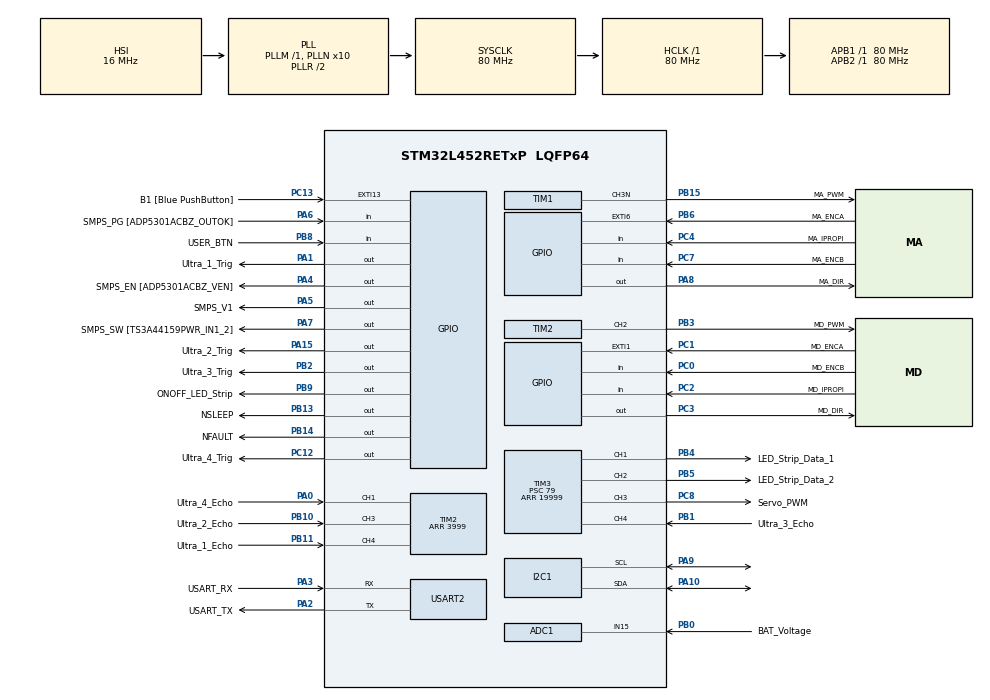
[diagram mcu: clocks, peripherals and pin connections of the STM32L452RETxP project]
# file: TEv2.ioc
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ADC1.Channel-0\#ChannelRegularConversion=ADC_CHANNEL_15
ADC1.NbrOfConversionFlag=1
ADC1.OffsetNumber-0\#ChannelRegularConversion=ADC_OFFSET_NONE
ADC1.Rank-0\#ChannelRegularConversion=1
ADC1.SamplingTime-0\#ChannelRegularConversion=ADC_SAMPLETIME_2CYCLES_5
ADC1.master=1
Dma.I2C1_RX.2.Direction=DMA_PERIPH_TO_MEMORY
Dma.I2C1_RX.2.Instance=DMA2_Channel6
Dma.I2C1_RX.2.MemDataAlignment=DMA_MDATAALIGN_BYTE
Dma.I2C1_RX.2.MemInc=DMA_MINC_ENABLE
Dma.I2C1_RX.2.Mode=DMA_NORMAL
Dma.I2C1_RX.2.PeriphDataAlignment=DMA_PDATAALIGN_BYTE
Dma.I2C1_RX.2.PeriphInc=DMA_PINC_DISABLE
Dma.I2C1_RX.2.Priority=DMA_PRIORITY_VERY_HIGH
Dma.I2C1_TX.3.Direction=DMA_MEMORY_TO_PERIPH
Dma.I2C1_TX.3.Instance=DMA2_Channel7
Dma.I2C1_TX.3.MemDataAlignment=DMA_MDATAALIGN_BYTE
Dma.I2C1_TX.3.MemInc=DMA_MINC_ENABLE
Dma.I2C1_TX.3.Mode=DMA_NORMAL
Dma.I2C1_TX.3.PeriphDataAlignment=DMA_PDATAALIGN_BYTE
Dma.I2C1_TX.3.PeriphInc=DMA_PINC_DISABLE
Dma.I2C1_TX.3.Priority=DMA_PRIORITY_VERY_HIGH
Dma.Request0=USART2_TX
Dma.Request1=USART2_RX
Dma.Request2=I2C1_RX
Dma.Request3=I2C1_TX
Dma.USART2_RX.1.Direction=DMA_PERIPH_TO_MEMORY
Dma.USART2_RX.1.Instance=DMA1_Channel6
Dma.USART2_RX.1.MemDataAlignment=DMA_MDATAALIGN_BYTE
Dma.USART2_RX.1.MemInc=DMA_MINC_ENABLE
Dma.USART2_RX.1.Mode=DMA_CIRCULAR
Dma.USART2_RX.1.PeriphDataAlignment=DMA_PDATAALIGN_BYTE
Dma.USART2_RX.1.PeriphInc=DMA_PINC_DISABLE
Dma.USART2_RX.1.Priority=DMA_PRIORITY_VERY_HIGH
Dma.USART2_TX.0.Direction=DMA_MEMORY_TO_PERIPH
Dma.USART2_TX.0.Instance=DMA1_Channel7
Dma.USART2_TX.0.MemDataAlignment=DMA_MDATAALIGN_BYTE
Dma.USART2_TX.0.MemInc=DMA_MINC_ENABLE
Dma.USART2_TX.0.Mode=DMA_NORMAL
Dma.USART2_TX.0.PeriphDataAlignment=DMA_PDATAALIGN_BYTE
Dma.USART2_TX.0.PeriphInc=DMA_PINC_DISABLE
Dma.USART2_TX.0.Priority=DMA_PRIORITY_VERY_HIGH
FREERTOS.Tasks01=defaultTask,24,3000,StartDefaultTask,Default,NULL,Static,defaultTaskBuffer,defaultTaskControlBlock
I2C1.Timing=0x10D19CE4
Mcu.Family=STM32L4
Mcu.Name=STM32L452RETxP
Mcu.Package=LQFP64
NVIC.DMA1_Channel6_IRQn=true\:5\:0\:false\:false\:true\:true\:false\:true\:true
NVIC.DMA1_Channel7_IRQn=true\:5\:0\:false\:false\:true\:true\:false\:true\:true
NVIC.DMA2_Channel6_IRQn=true\:5\:0\:false\:false\:true\:true\:false\:true\:true
NVIC.DMA2_Channel7_IRQn=true\:5\:0\:false\:false\:true\:true\:false\:true\:true
NVIC.EXTI15_10_IRQn=true\:5\:0\:false\:false\:true\:true\:true\:true\:true
NVIC.EXTI1_IRQn=true\:5\:0\:false\:false\:true\:true\:true\:true\:true
NVIC.EXTI9_5_IRQn=true\:5\:0\:false\:false\:true\:true\:true\:true\:true
NVIC.I2C1_ER_IRQn=true\:5\:0\:false\:false\:true\:true\:true\:true\:true
NVIC.I2C1_EV_IRQn=true\:5\:0\:false\:false\:true\:true\:true\:true\:true
NVIC.PriorityGroup=NVIC_PRIORITYGROUP_4
NVIC.TIM1_UP_TIM16_IRQn=true\:15\:0\:false\:false\:true\:false\:false\:true\:true
NVIC.TIM2_IRQn=true\:5\:0\:false\:false\:true\:true\:true\:true\:true
NVIC.TIM3_IRQn=true\:5\:0\:false\:false\:true\:true\:true\:true\:true
NVIC.TimeBase=TIM1_UP_TIM16_IRQn
NVIC.TimeBaseIP=TIM16
NVIC.USART2_IRQn=true\:5\:0\:false\:false\:true\:true\:true\:true\:true
PA0.GPIO_Label=Ultra_4_Echo
PA0.Signal=S_TIM2_CH1
PA1.GPIO_Label=Ultra_1_Trig
PA1.Signal=GPIO_Output
PA10.Mode=I2C
PA10.Signal=I2C1_SDA
PA14\ (JTCK/SWCLK).Signal=SYS_JTCK-SWCLK
PA15\ (JTDI).GPIO_Label=Ultra_2_Trig
PA15\ (JTDI).Signal=GPIO_Output
PA2.GPIO_Label=USART_TX
PA2.GPIO_Mode=GPIO_MODE_AF_PP
PA2.GPIO_PuPd=GPIO_NOPULL
PA2.GPIO_Speed=GPIO_SPEED_FREQ_VERY_HIGH
PA2.Mode=Asynchronous
PA2.Signal=USART2_TX
PA3.GPIO_Label=USART_RX
PA3.GPIO_Mode=GPIO_MODE_AF_PP
PA3.GPIO_PuPd=GPIO_NOPULL
PA3.GPIO_Speed=GPIO_SPEED_FREQ_VERY_HIGH
PA3.Mode=Asynchronous
PA3.Signal=USART2_RX
PA4.GPIO_Label=SMPS_EN [ADP5301ACBZ_VEN]
PA4.Signal=GPIO_Output
PA5.GPIO_Label=SMPS_V1
PA5.GPIO_ModeDefaultOutputPP=GPIO_MODE_OUTPUT_PP
PA5.GPIO_PuPd=GPIO_NOPULL
PA5.GPIO_Speed=GPIO_SPEED_FREQ_LOW
PA5.Signal=GPIO_Output
PA6.GPIO_Label=SMPS_PG [ADP5301ACBZ_OUTOK]
PA6.GPIO_PuPd=GPIO_PULLUP
PA6.Signal=GPIO_Input
PA7.GPIO_Label=SMPS_SW [TS3A44159PWR_IN1_2]
PA7.Signal=GPIO_Output
PA8.GPIO_Label=MA_DIR
PA8.Signal=GPIO_Output
PA9.Mode=I2C
PA9.Signal=I2C1_SCL
PB0.GPIO_Label=BAT_Voltage
PB0.Signal=ADCx_IN15
PB1.GPIO_Label=Ultra_3_Echo
PB1.Signal=S_TIM3_CH4
PB10.GPIO_Label=Ultra_2_Echo
PB10.Signal=S_TIM2_CH3
PB11.GPIO_Label=Ultra_1_Echo
PB11.Signal=S_TIM2_CH4
PB13.GPIO_Label=NSLEEP
PB13.Signal=GPIO_Output
PB14.GPIO_Label=NFAULT
PB14.Signal=GPIO_Output
PB15.GPIO_Label=MA_PWM
PB15.Mode=PWM Generation3 CH3N
PB15.Signal=TIM1_CH3N
PB2.GPIO_Label=Ultra_3_Trig
PB2.Signal=GPIO_Output
PB3\ (JTDO/TRACESWO).GPIO_Label=MD_PWM
PB3\ (JTDO/TRACESWO).Signal=S_TIM2_CH2
PB4\ (NJTRST).GPIO_Label=LED_Strip_Data_1
PB4\ (NJTRST).Signal=S_TIM3_CH1
PB5.GPIO_Label=LED_Strip_Data_2
PB5.Signal=S_TIM3_CH2
PB6.GPIO_Label=MA_ENCA
PB6.Signal=GPXTI6
PB8.GPIO_Label=USER_BTN
PB8.Signal=GPIO_Input
PB9.GPIO_Label=ONOFF_LED_Strip
PB9.Signal=GPIO_Output
PC0.GPIO_Label=MD_ENCB
PC0.Signal=GPIO_Input
PC1.GPIO_Label=MD_ENCA
PC1.Signal=GPXTI1
PC12.GPIO_Label=Ultra_4_Trig
PC12.Signal=GPIO_Output
PC13.GPIO_Label=B1 [Blue PushButton]
PC13.GPIO_ModeDefaultEXTI=GPIO_MODE_IT_FALLING
PC13.GPIO_PuPd=GPIO_NOPULL
PC13.Signal=GPXTI13
PC14-OSC32_IN\ (PC14).Mode=LSE-External-Oscillator
PC14-OSC32_IN\ (PC14).Signal=RCC_OSC32_IN
PC15-OSC32_OUT\ (PC15).Mode=LSE-External-Oscillator
PC15-OSC32_OUT\ (PC15).Signal=RCC_OSC32_OUT
PC2.GPIO_Label=MD_IPROPI
PC2.Signal=GPIO_Input
PC3.GPIO_Label=MD_DIR
PC3.Signal=GPIO_Output
PC4.GPIO_Label=MA_IPROPI
PC4.Signal=GPIO_Input
PC7.GPIO_Label=MA_ENCB
PC7.Signal=GPIO_Input
PC8.GPIO_Label=Servo_PWM
PC8.Signal=S_TIM3_CH3
PH0-OSC_IN\ (PH0).GPIO_Label=MCO
PH0-OSC_IN\ (PH0).Mode=HSE-External-Oscillator
PH0-OSC_IN\ (PH0).Signal=RCC_OSC_IN
PH1-OSC_OUT\ (PH1).Mode=HSE-External-Oscillator
PH1-OSC_OUT\ (PH1).Signal=RCC_OSC_OUT
ProjectManager.HeapSize=0x200
ProjectManager.StackSize=0x400
ProjectManager.TargetToolchain=Makefile
RCC.ADCFreq_Value=64000000
RCC.AHBFreq_Value=80000000
RCC.APB1Freq_Value=80000000
RCC.APB1TimFreq_Value=80000000
RCC.APB2Freq_Value=80000000
RCC.APB2TimFreq_Value=80000000
RCC.CK48CLockSelection=RCC_USBCLKSOURCE_HSI48
RCC.CortexFreq_Value=80000000
RCC.HCLKFreq_Value=80000000
RCC.HSE_VALUE=8000000
RCC.HSI48_VALUE=48000000
RCC.HSI_VALUE=16000000
RCC.MSI_VALUE=4000000
RCC.PLLN=10
RCC.PLLSourceVirtual=RCC_PLLSOURCE_HSI
RCC.SYSCLKFreq_VALUE=80000000
RCC.SYSCLKSource=RCC_SYSCLKSOURCE_PLLCLK
RCC.USBFreq_Value=48000000
RCC.VCOOutputFreq_Value=160000000
SH.ADCx_IN15.0=ADC1_IN15,IN15-Single-Ended
SH.S_TIM2_CH1.0=TIM2_CH1,Input_Capture1_from_TI1
SH.S_TIM2_CH2.0=TIM2_CH2,PWM Generation2 CH2
SH.S_TIM2_CH3.0=TIM2_CH3,Input_Capture3_from_TI3
SH.S_TIM2_CH4.0=TIM2_CH4,Input_Capture4_from_TI4
SH.S_TIM3_CH1.0=TIM3_CH1,PWM Generation1 CH1
SH.S_TIM3_CH2.0=TIM3_CH2,PWM Generation2 CH2
SH.S_TIM3_CH3.0=TIM3_CH3,PWM Generation3 CH3
SH.S_TIM3_CH4.0=TIM3_CH4,Input_Capture4_from_TI4
TIM1.Channel-PWM\ Generation3\ CH3N=TIM_CHANNEL_3
TIM2.Channel-Input_Capture1_from_TI1=TIM_CHANNEL_1
TIM2.Channel-Input_Capture3_from_TI3=TIM_CHANNEL_3
TIM2.Channel-Input_Capture4_from_TI4=TIM_CHANNEL_4
TIM2.Channel-PWM\ Generation2\ CH2=TIM_CHANNEL_2
TIM2.Period=3999
TIM2.Pulse-PWM\ Generation2\ CH2=2000
TIM3.AutoReloadPreload=TIM_AUTORELOAD_PRELOAD_ENABLE
TIM3.Channel-Input_Capture4_from_TI4=TIM_CHANNEL_4
TIM3.Channel-PWM\ Generation1\ CH1=TIM_CHANNEL_1
TIM3.Channel-PWM\ Generation2\ CH2=TIM_CHANNEL_2
TIM3.Channel-PWM\ Generation3\ CH3=TIM_CHANNEL_3
TIM3.Period=19999
TIM3.Prescaler=79
USART2.VirtualMode-Asynchronous=VM_ASYNC
VP_FREERTOS_VS_CMSIS_V2.Mode=CMSIS_V2
VP_SYS_VS_tim16.Mode=TIM16
VP_TIM1_VS_ClockSourceINT.Mode=Internal
VP_TIM2_VS_ClockSourceINT.Mode=Internal
VP_TIM3_VS_ClockSourceINT.Mode=Internal
board=NUCLEO-L452RE-P

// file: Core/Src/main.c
/* USER CODE BEGIN Header */
/**
  ******************************************************************************
  * @file           : main.c
  * @brief          : Main program body
  ******************************************************************************
  * @attention
  *
  * Copyright (c) 2024 STMicroelectronics.
  * All rights reserved.
  *
  * This software is licensed under terms that can be found in the LICENSE file
  * in the root directory of this software component.
  * If no LICENSE file comes with this software, it is provided AS-IS.
  *
  ******************************************************************************
  */
/* USER CODE END Header */
#include "main.h"
#include "cmsis_os.h"
#include "adc.h"
#include "dma.h"
#include "i2c.h"
#include "tim.h"
#include "usart.h"
#include "gpio.h"

/* USER CODE BEGIN Includes */
#include <stdio.h>
#include "encoder.h"
#include "motor_control.h"
#include "servo_control.h"
#include "motion_control.h"
#include "robot_config.h"

/* USER CODE END Includes */

/* USER CODE BEGIN PV */
encoder_t encoder_1;
encoder_t encoder_2;

hcsr04_t ultra_1;
hcsr04_t ultra_2;
hcsr04_t ultra_3;
hcsr04_t ultra_4;

Motor_HandleTypeDef motor_left, motor_right;
MotionState motion_state;
Servo_HandleTypeDef steering_servo;

/* USER CODE END PV */

void SystemClock_Config(void);
void MX_FREERTOS_Init(void);

int main(void)
{

  /* MCU Configuration--------------------------------------------------------*/

  /* Reset of all peripherals, Initializes the Flash interface and the Systick. */
  HAL_Init();

  /* Configure the system clock */
  SystemClock_Config();

  /* Initialize all configured peripherals */
  MX_GPIO_Init();
  MX_DMA_Init();
  MX_USART2_UART_Init();
  MX_TIM2_Init();
  MX_TIM1_Init();
  MX_TIM3_Init();
  MX_I2C1_Init();
  MX_ADC1_Init();
  /* USER CODE BEGIN 2 */

  HAL_GPIO_WritePin(NSLEEP_GPIO_Port, NSLEEP_Pin, GPIO_PIN_SET);

  motor_left.timer = &htim1;
  motor_left.pwm_channel = TIM_CHANNEL_3;
  motor_left.dir_gpio_port = MA_DIR_GPIO_Port;
  motor_left.dir_gpio_pin = MA_DIR_Pin;

  motor_right.timer = &htim2;
  motor_right.pwm_channel = TIM_CHANNEL_2;
  motor_right.dir_gpio_port = MD_DIR_GPIO_Port;
  motor_right.dir_gpio_pin = MD_DIR_Pin;

  Motor_Init(&motor_left);
  Motor_Init(&motor_right);

  // Servo initialization
  steering_servo.timer = &htim3;  // Example: TIM3 for servo
  steering_servo.channel = TIM_CHANNEL_3;
  Servo_Init(&steering_servo);

  // Motion Control initialization
  InitMotionControl(&motion_state);

  // Initialize Encoders
  encoder_init(&encoder_1, MA_ENCA_GPIO_Port, MA_ENCA_Pin, MA_ENCB_GPIO_Port, MA_ENCB_Pin);
  encoder_init(&encoder_2, MD_ENCA_GPIO_Port, MD_ENCA_Pin, MD_ENCB_GPIO_Port, MD_ENCB_Pin);

  hcsr04_init(&ultra_1, &htim2, TIM_CHANNEL_4, HAL_TIM_ACTIVE_CHANNEL_4, TIM_IT_CC4, Ultra_1_Trig_GPIO_Port, Ultra_1_Trig_Pin);
  hcsr04_init(&ultra_2, &htim2, TIM_CHANNEL_3, HAL_TIM_ACTIVE_CHANNEL_3, TIM_IT_CC3, Ultra_2_Echo_GPIO_Port, Ultra_2_Echo_Pin);
  hcsr04_init(&ultra_3, &htim3, TIM_CHANNEL_4, HAL_TIM_ACTIVE_CHANNEL_4, TIM_IT_CC4, Ultra_3_Trig_GPIO_Port, Ultra_3_Trig_Pin);
  hcsr04_init(&ultra_4, &htim2, TIM_CHANNEL_2, HAL_TIM_ACTIVE_CHANNEL_2, TIM_IT_CC2, Ultra_4_Trig_GPIO_Port, Ultra_4_Trig_Pin);

  HAL_GPIO_WritePin(MA_DIR_GPIO_Port, MA_DIR_Pin, GPIO_PIN_SET);

  HAL_TIM_PWM_Start(&htim3, TIM_CHANNEL_3);
  /* USER CODE END 2 */

  /* Init scheduler */
  osKernelInitialize();

  /* Call init function for freertos objects (in cmsis_os2.c) */
  MX_FREERTOS_Init();

  /* Start scheduler */
  osKernelStart();

  /* We should never get here as control is now taken by the scheduler */

  /* Infinite loop */
  while (1)
  {

  }
}

void SystemClock_Config(void)
{
  RCC_OscInitTypeDef RCC_OscInitStruct = {0};
  RCC_ClkInitTypeDef RCC_ClkInitStruct = {0};

  /** Configure the main internal regulator output voltage
  */
  if (HAL_PWREx_ControlVoltageScaling(PWR_REGULATOR_VOLTAGE_SCALE1) != HAL_OK)
  {
    Error_Handler();
  }

  /** Initializes the RCC Oscillators according to the specified parameters
  * in the RCC_OscInitTypeDef structure.
  */
  RCC_OscInitStruct.OscillatorType = RCC_OSCILLATORTYPE_HSI;
  RCC_OscInitStruct.HSIState = RCC_HSI_ON;
  RCC_OscInitStruct.HSICalibrationValue = 64;
  RCC_OscInitStruct.PLL.PLLState = RCC_PLL_ON;
  RCC_OscInitStruct.PLL.PLLSource = RCC_PLLSOURCE_HSI;
  RCC_OscInitStruct.PLL.PLLM = 1;
  RCC_OscInitStruct.PLL.PLLN = 10;
  RCC_OscInitStruct.PLL.PLLP = RCC_PLLP_DIV7;
  RCC_OscInitStruct.PLL.PLLQ = RCC_PLLQ_DIV2;
  RCC_OscInitStruct.PLL.PLLR = RCC_PLLR_DIV2;
  if (HAL_RCC_OscConfig(&RCC_OscInitStruct) != HAL_OK)
  {
    Error_Handler();
  }

  /** Initializes the CPU, AHB and APB buses clocks
  */
  RCC_ClkInitStruct.ClockType = RCC_CLOCKTYPE_HCLK|RCC_CLOCKTYPE_SYSCLK
                              |RCC_CLOCKTYPE_PCLK1|RCC_CLOCKTYPE_PCLK2;
  RCC_ClkInitStruct.SYSCLKSource = RCC_SYSCLKSOURCE_PLLCLK;
  RCC_ClkInitStruct.AHBCLKDivider = RCC_SYSCLK_DIV1;
  RCC_ClkInitStruct.APB1CLKDivider = RCC_HCLK_DIV1;
  RCC_ClkInitStruct.APB2CLKDivider = RCC_HCLK_DIV1;

  if (HAL_RCC_ClockConfig(&RCC_ClkInitStruct, FLASH_LATENCY_4) != HAL_OK)
  {
    Error_Handler();
  }
}

void HAL_TIM_PeriodElapsedCallback(TIM_HandleTypeDef *htim)
{
  if (htim->Instance == TIM16) {
    HAL_IncTick();
  }
  /* USER CODE BEGIN Callback 1 */
  if (htim->Channel == ultra_1.active_channel && htim == ultra_1.htim) { // US 1
    hcsr04_handle_period_elapsed_interrupt(&ultra_1);
  } else if (htim->Channel == ultra_2.active_channel && htim == ultra_2.htim) { // US 2
    hcsr04_handle_period_elapsed_interrupt(&ultra_2);
  } else if (htim->Channel == ultra_3.active_channel && htim == ultra_3.htim) { // US 3
    hcsr04_handle_period_elapsed_interrupt(&ultra_3);
  } else if (htim->Channel == ultra_4.active_channel && htim == ultra_4.htim) { // US 4
    hcsr04_handle_period_elapsed_interrupt(&ultra_4);
  }
  /* USER CODE END Callback 1 */
}

void Error_Handler(void)
{
  __disable_irq();
  while (1)
  {
  }
}

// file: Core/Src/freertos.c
/* USER CODE BEGIN Header */
/**
  ******************************************************************************
  * File Name          : freertos.c
  * Description        : Code for freertos applications
  ******************************************************************************
  * @attention
  *
  * Copyright (c) 2024 STMicroelectronics.
  * All rights reserved.
  *
  * This software is licensed under terms that can be found in the LICENSE file
  * in the root directory of this software component.
  * If no LICENSE file comes with this software, it is provided AS-IS.
  *
  ******************************************************************************
  */
/* USER CODE END Header */

#include "FreeRTOS.h"
#include "task.h"
#include "main.h"
#include "cmsis_os.h"

/* USER CODE BEGIN Includes */
#include <stdio.h>
#include <std_msgs/msg/string.h>
#include <std_msgs/msg/int32.h>
#include <rclc/rclc.h>
#include <rclc/executor.h>
#include <rcl/rcl.h>
#include <rcl/error_handling.h>
#include <rclc/executor.h>
#include <uxr/client/transport.h>
#include <rmw_microxrcedds_c/config.h>
#include <rmw_microros/rmw_microros.h>

#include "usart.h"
#include <uxr/client/transport.h>
#include <rmw_microxrcedds_c/config.h>
#include <rmw_microros/rmw_microros.h>
#include "usart.h"
#include <geometry_msgs/msg/twist.h>

#include <micro_ros_utilities/string_utilities.h>
#include <mobi_interfaces/msg/encoders_stamped.h>
#include <mobi_interfaces/msg/ultra_ranges.h>
#include <mobi_interfaces/srv/get_calib_status.h>
#include <mobi_interfaces/srv/get_imu_calib_data.h>
#include <mobi_interfaces/srv/get_pozyx_info.h>
#include <mobi_interfaces/srv/set_imu_calib_data.h>
#include <mobi_interfaces/srv/set_led_strip.h>
#include <mobi_interfaces/srv/set_power.h>
#include "encoder.h"
#include "utils.h"
#include "motor_control.h"
#include "servo_control.h"
#include "motion_control.h"
#include "robot_config.h"

#include <math.h>

/* USER CODE END Includes */

typedef StaticTask_t osStaticThreadDef_t;
/* USER CODE BEGIN PTD */
#define RCCHECK(fn){                                                                                                                    \
  rcl_ret_t temp_rc = fn;                                                                                            \
  if ((temp_rc != RCL_RET_OK)) {                                                                                     \
    RCUTILS_LOG_DEBUG_NAMED(LOGGER_NAME, "Failed status on line %d: %d. Aborting.", __LINE__, (int)temp_rc);         \
    return;                                                                                                          \
  }                                                                                                                  \
}
/* USER CODE END PTD */

/* USER CODE BEGIN Variables */

// Declare Publishers
rcl_publisher_t encoders_pub;
rcl_publisher_t ultra_ranges_pub;

// Declare Publisher msgs
mobi_interfaces__msg__EncodersStamped encoders_msg;
mobi_interfaces__msg__UltraRanges ultra_ranges_msg;

// Declare Subscribers
rcl_subscription_t cmd_vel_sub;

// Declare Subscriber msgs
geometry_msgs__msg__Twist cmd_vel_msg;

/* USER CODE END Variables */
/* Definitions for defaultTask */
osThreadId_t defaultTaskHandle;
uint32_t defaultTaskBuffer[ 3000 ];
osStaticThreadDef_t defaultTaskControlBlock;
const osThreadAttr_t defaultTask_attributes = {
  .name = "defaultTask",
  .cb_mem = &defaultTaskControlBlock,
  .cb_size = sizeof(defaultTaskControlBlock),
  .stack_mem = &defaultTaskBuffer[0],
  .stack_size = sizeof(defaultTaskBuffer),
  .priority = (osPriority_t) osPriorityNormal,
};

/* USER CODE BEGIN FunctionPrototypes */
bool cubemx_transport_open(struct uxrCustomTransport *transport);
bool cubemx_transport_close(struct uxrCustomTransport *transport);
size_t cubemx_transport_write(struct uxrCustomTransport *transport, const uint8_t *buf, size_t len, uint8_t *err);
size_t cubemx_transport_read(struct uxrCustomTransport *transport, uint8_t *buf, size_t len, int timeout, uint8_t *err);

void *microros_allocate(size_t size, void *state);
void microros_deallocate(void *pointer, void *state);
void *microros_reallocate(void *pointer, size_t size, void *state);
void *microros_zero_allocate(size_t number_of_elements, size_t size_of_element, void *state);

void timer_100ms_callback(rcl_timer_t *timer, int64_t last_call_time);
void timer_250ms_callback(rcl_timer_t *timer, int64_t last_call_time);
void timer_1s_callback(rcl_timer_t *timer, int64_t last_call_time);

void cmd_vel_callback(const void *argument);

extern Motor_HandleTypeDef motor_left, motor_right;
extern Servo_HandleTypeDef steering_servo;
extern MotionState motion_state;
static bool motors_initialized = false;
/* USER CODE END FunctionPrototypes */

void StartDefaultTask(void *argument);

void MX_FREERTOS_Init(void); /* (MISRA C 2004 rule 8.1) */

void MX_FREERTOS_Init(void) {

  /* Create the thread(s) */
  /* creation of defaultTask */
  defaultTaskHandle = osThreadNew(StartDefaultTask, NULL, &defaultTask_attributes);

}

void StartDefaultTask(void *argument)
{
  /* USER CODE BEGIN StartDefaultTask */

  rmw_uros_set_custom_transport(
    true,
    (void *) &huart2,
    cubemx_transport_open,
    cubemx_transport_close,
    cubemx_transport_write,
    cubemx_transport_read);

    rcl_allocator_t freeRTOS_allocator = rcutils_get_zero_initialized_allocator();
    freeRTOS_allocator.allocate = microros_allocate;
    freeRTOS_allocator.deallocate = microros_deallocate;
    freeRTOS_allocator.reallocate = microros_reallocate;
    freeRTOS_allocator.zero_allocate =  microros_zero_allocate;

    if (!rcutils_set_default_allocator(&freeRTOS_allocator)) {
        printf("Error on default allocators (line %d)\n", __LINE__);
    }

  rclc_support_t support;
  //rcl_ret_t rc;

  // After transport setup, before node creation
  while (rmw_uros_ping_agent(100, 3) != RCL_RET_OK) {
    printf("Waiting for agent...\n");
    osDelay(100);  // Don't block indefinitely
  }

  hcsr04_init_range_msg(&ultra_ranges_msg.front_left, micro_ros_string_utilities_init("us_front_left"));
  hcsr04_init_range_msg(&ultra_ranges_msg.front_right, micro_ros_string_utilities_init("us_front_right"));
  hcsr04_init_range_msg(&ultra_ranges_msg.center_left, micro_ros_string_utilities_init("us_center_left"));
  hcsr04_init_range_msg(&ultra_ranges_msg.center_right, micro_ros_string_utilities_init("us_center_right"));
  hcsr04_init_range_msg(&ultra_ranges_msg.rear_left, micro_ros_string_utilities_init("us_rear_left"));
  hcsr04_init_range_msg(&ultra_ranges_msg.rear_right, micro_ros_string_utilities_init("us_rear_right"));

  encoders_msg.header.frame_id = micro_ros_string_utilities_init("encoders");

  // Initialize init_options
  rcl_init_options_t init_options = rcl_get_zero_initialized_init_options();

  rcl_init_options_init(&init_options, freeRTOS_allocator);
  rcl_init_options_set_domain_id(&init_options, 255);

  rclc_support_init_with_options(&support, 0, NULL, &init_options, &freeRTOS_allocator);

  // create rcl_node
  rcl_node_t my_node;
  rclc_node_init_default(&my_node, "stm32", "", &support);
  //if (rc != RCL_RET_OK) {
    //printf("Error in rclc_node_init_default\n");
    //return;
  //}

  rmw_uros_sync_session(1000);

  rclc_publisher_init_default(&encoders_pub, &my_node, ROSIDL_GET_MSG_TYPE_SUPPORT(mobi_interfaces, msg, EncodersStamped), "/encoder");

  rclc_publisher_init_default(&ultra_ranges_pub, &my_node, ROSIDL_GET_MSG_TYPE_SUPPORT(mobi_interfaces, msg, UltraRanges), "/ultra_ranges");

  // Initialize subscribers
  rclc_subscription_init_default(&cmd_vel_sub, &my_node, ROSIDL_GET_MSG_TYPE_SUPPORT(geometry_msgs, msg, Twist), "/cmd_vel");

  rcl_timer_t timer_100ms;

  rclc_timer_init_default2(&timer_100ms, &support, RCL_MS_TO_NS(100), timer_100ms_callback, true);

  rcl_timer_t timer_250ms;
  rclc_timer_init_default2(&timer_250ms, &support, RCL_MS_TO_NS(250), timer_250ms_callback, true);

  rclc_executor_t executor = rclc_executor_get_zero_initialized_executor();

  rclc_executor_init(&executor, &support.context, 3, &freeRTOS_allocator);

  rclc_executor_add_timer(&executor, &timer_100ms);
  //if (rc != RCL_RET_OK) {
    //printf("Error in rclc_executor_add_timer.\n");
  //}

  rclc_executor_add_timer(&executor, &timer_250ms);

  rclc_executor_add_subscription(&executor, &cmd_vel_sub, &cmd_vel_msg, &cmd_vel_callback, ON_NEW_DATA);

  rclc_executor_prepare(&executor);

  /* Infinite loop */
  for(;;)
  {

    //steering_servo.timer->Instance->CCR3 = 1000;
    //HAL_Delay(2000);
    //steering_servo.timer->Instance->CCR3 = 2000;
    //HAL_Delay(2000);

    rclc_executor_spin_some(&executor, RCL_MS_TO_NS(100));
  // Safety: Update motion control even without new messages
    //if(HAL_GetTick() - motion_state.last_update > 100) {
      //  float dt = 0.1f; // 100ms
        //UpdateMotionControl(&motion_state, dt);
    //}
    osDelay(1);
  }
  /* USER CODE END StartDefaultTask */
}

/* USER CODE BEGIN Application */
static int32_t fake_left = 0;
static int32_t fake_right = 1000;

void timer_100ms_callback(rcl_timer_t *timer, int64_t last_call_time) {
  (void)last_call_time;

  encoders_msg.encoders.front_left = encoder_1.counter;
  encoders_msg.encoders.front_right = encoder_2.counter;

  stamp_header(&encoders_msg.header.stamp);
  rcl_publish(&encoders_pub, &encoders_msg, NULL);
}

void cmd_vel_callback(const void *msgin) {

  if (!motors_initialized){
    EnableMotorOutputs(&motor_right);
    motors_initialized = true;
  }

  const geometry_msgs__msg__Twist *msg = (const geometry_msgs__msg__Twist *)msgin;

  // Convert Twist to Ackermann commands
    float linear_x = fmaxf(fminf(msg->linear.x, 1.0f), -1.0f);
    float angular_z = msg->angular.z;

    float target_angle = CENTER_STEERING_ANGLE;

    // Calculate Ackermann steering angle
    if(fabsf(linear_x) > 0.1f) {
      float direction_sign = (linear_x >= 0) ? 1.0f : -1.0f;
      float angle_rad = atan2f(WHEELBASE * angular_z , fabsf(linear_x)) * direction_sign;
      target_angle = RAD_TO_DEG(angle_rad) + CENTER_STEERING_ANGLE;
    } else if(fabsf(angular_z) > 0.01f) {
        // Handle stationary steering
        target_angle = copysignf(MAX_STEERING_ANGLE, angular_z) + CENTER_STEERING_ANGLE;
    }

    motion_state.target_steering = fmaxf(fminf(target_angle, SERVO_MAX_ANGLE), SERVO_MIN_ANGLE);
    //float angle_deg = RAD_TO_DEG(angle_rad) + CENTER_STEERING_ANGLE;

    //angle_deg = fmax(fmin(angle_deg, SERVO_MAX_ANGLE), SERVO_MIN_ANGLE);
    //if (angular_z == 0){angle_deg = CENTER_STEERING_ANGLE;}

    // Set target speed
    motion_state.target_speed = linear_x;

    // Calculate time delta
    uint32_t now = HAL_GetTick();
    float dt = (now - motion_state.last_update) / 1000.0f;
    motion_state.last_update = now;

    // Update motion control
    UpdateMotionControl(&motion_state, dt);

    // Convert to motor control (differential steering)
    float speed_percent = (motion_state.current_speed / MAX_LINEAR_SPEED) * 100.0f;
    bool direction = speed_percent >= 0;

    // Set motor speeds (same for both wheels in Ackermann steering)
    SetMotorDirection(&motor_left, direction);
    SetMotorDirection(&motor_right, direction);
    SetMotorSpeed(&motor_left, fabsf(speed_percent));
    SetMotorSpeed(&motor_right, fabsf(speed_percent));
    // Set steering angle
    SetSteeringAngle(&steering_servo, motion_state.current_steering);

}

void timer_250ms_callback(rcl_timer_t *timer, int64_t last_call_time) {
  (void)last_call_time;

  hcsr04_measure(&ultra_1);
  ultra_ranges_msg.front_left.range = fake_left++;
  stamp_header(&ultra_ranges_msg.front_left.header.stamp);
  hcsr04_measure(&ultra_2);
  ultra_ranges_msg.front_right.range = fake_right++;
  stamp_header(&ultra_ranges_msg.front_right.header.stamp);
  hcsr04_measure(&ultra_3);
  ultra_ranges_msg.rear_left.range = fake_left++;
  stamp_header(&ultra_ranges_msg.rear_left.header.stamp);
  hcsr04_measure(&ultra_4);
  ultra_ranges_msg.rear_right.range = fake_right++;
  stamp_header(&ultra_ranges_msg.rear_right.header.stamp);

  rcl_publish(&ultra_ranges_pub, &ultra_ranges_msg, NULL);

}

/* USER CODE END Application */
